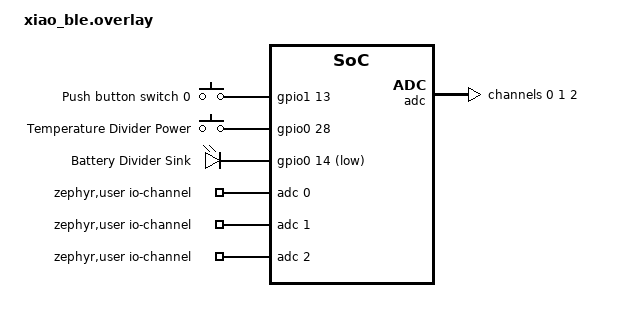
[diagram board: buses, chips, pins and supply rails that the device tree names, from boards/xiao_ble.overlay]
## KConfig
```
# /Kconfig
# this is all you need!
source "Kconfig.zephyr"

menu "FART Sensor"

config REFERENCE_VOLTAGE
	int "The reference voltage"
	range 3000 5000
	default 3300

config SWAP_PROBES_PRESS_TIME_SECONDS
	int "The time the reset button must be pressed to swap the probes"
	range 2 19
	default 5

endmenu
```

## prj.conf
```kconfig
#
# Copyright (c) 2021 Nordic Semiconductor ASA
#
# SPDX-License-Identifier: LicenseRef-Nordic-5-Clause
#
CONFIG_NCS_SAMPLES_DEFAULTS=n

CONFIG_UART_INTERRUPT_DRIVEN=y

CONFIG_HEAP_MEM_POOL_SIZE=2048
CONFIG_MAIN_THREAD_PRIORITY=7

CONFIG_ZIGBEE=y
CONFIG_ZIGBEE_APP_UTILS=y
CONFIG_ZIGBEE_ROLE_ROUTER=n
CONFIG_ZIGBEE_ROLE_END_DEVICE=y

CONFIG_RAM_POWER_DOWN_LIBRARY=y

# Enable DK LED and Buttons library
CONFIG_DK_LIBRARY=y

# This example requires more workqueue stack
CONFIG_SYSTEM_WORKQUEUE_STACK_SIZE=2048

# Enable nRF ECB driver
CONFIG_CRYPTO=y
CONFIG_CRYPTO_NRF_ECB=y
CONFIG_CRYPTO_INIT_PRIORITY=80

# Networking
CONFIG_NET_IPV6=n
CONFIG_NET_IP_ADDR_CHECK=n

CONFIG_NEWLIB_LIBC=y
CONFIG_ADC=y
CONFIG_PWM=n

CONFIG_REFERENCE_VOLTAGE=3300

CONFIG_ZIGBEE_ENABLE_TRACES=n
CONFIG_ZIGBEE_CHANNEL_SELECTION_MODE_MULTI=y

# Logging. Use the n block for production

# CONFIG_SERIAL=n
# CONFIG_CONSOLE=n
# CONFIG_UART_CONSOLE=n
# CONFIG_LOG_BACKEND_RTT=n
# CONFIG_USE_SEGGER_RTT=n
# CONFIG_LOG_MODE_IMMEDIATE=n
# CONFIG_LOG=n

CONFIG_SERIAL=y
CONFIG_CONSOLE=y
CONFIG_UART_CONSOLE=n
CONFIG_LOG_BACKEND_RTT=y
CONFIG_USE_SEGGER_RTT=y
CONFIG_LOG_MODE_IMMEDIATE=y
CONFIG_LOG=y
# end

CONFIG_LOG_BUFFER_SIZE=4048

# # Set to y for debug logging froM ZBoss. n for production
#CONFIG_ZIGBEE_APP_UTILS_LOG_LEVEL_DBG=n
CONFIG_ZBOSS_ERROR_PRINT_TO_LOG=n
# CONFIG_ZBOSS_TRACE_LOG_LEVEL_ERR=y
#CONFIG_ZBOSS_TRACE_LOG_LEVEL_INF=n
# CONFIG_ZBOSS_OSIF_LOG_LEVEL_DBG=n
#end

CONFIG_PM_DEVICE=y
CONFIG_PM_CPU_OPS=y
CONFIG_PM_DEVICE_RUNTIME=y
CONFIG_PM_DEVICE_POWER_DOMAIN=y

CONFIG_FACTORY_RESET_PRESS_TIME_SECONDS=10

# From Power Down sample
CONFIG_NRFX_QSPI=y
CONFIG_USB_DEVICE_STACK=n # no in production
CONFIG_DEBUG_OPTIMIZATIONS=n
CONFIG_DEBUG_THREAD_INFO=n

CONFIG_NVS=y
```

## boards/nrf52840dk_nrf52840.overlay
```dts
	/*
 * SPDX-License-Identifier: Apache-2.0
 *
 * Copyright (c) 2022 Nordic Semiconductor ASA
 */

/ {
	gpio_custom {
		compatible = "gpio-leds";
		battery_divider_sink: battery_divider_sink {
		  gpios = <&gpio0 27 GPIO_ACTIVE_LOW>;
		  label = "Battery Divider Sink";
		};
	};

	power {
		compatible = "gpio-keys";
		temperature_divider_power: temperature_divider_power {
			gpios = <&gpio1 14 (GPIO_PULL_DOWN | GPIO_ACTIVE_HIGH)>;
			label = "Temperature Divider Power";
		};
	};

	zephyr,user {
		io-channels = <&adc 0>, <&adc 1>, <&adc 2>;
	};
};

&adc {
	#address-cells = <1>;
	#size-cells = <0>;

	channel@0 {
		reg = <0>;
		zephyr,gain = "ADC_GAIN_1_5";
		zephyr,reference = "ADC_REF_INTERNAL";
		zephyr,acquisition-time = <ADC_ACQ_TIME_DEFAULT>;
		zephyr,input-positive = <NRF_SAADC_AIN1>;
		zephyr,resolution = <12>;
		zephyr,oversampling = <8>;
	};

	channel@1 {
		reg = <1>;
		zephyr,gain = "ADC_GAIN_1_5";
		zephyr,reference = "ADC_REF_INTERNAL";
		zephyr,acquisition-time = <ADC_ACQ_TIME_DEFAULT>;
		zephyr,input-positive = <NRF_SAADC_AIN2>;
		zephyr,resolution = <12>;
		zephyr,oversampling = <8>;
	};

	channel@2 {
		reg = <2>;
		zephyr,gain = "ADC_GAIN_1_6";
		zephyr,reference = "ADC_REF_INTERNAL";
		zephyr,acquisition-time = <ADC_ACQ_TIME_DEFAULT>;
		zephyr,input-positive = <NRF_SAADC_AIN7>;
		zephyr,resolution = <12>;
		zephyr,oversampling = <8>;
	};
};

&qspi {
	status = "disabled";
};

&spi0 {
	status = "disabled";
};

&spi1 {
	status = "disabled";
};

&spi2 {
	status = "disabled";
};

&spi3 {
	status = "disabled";
};
```

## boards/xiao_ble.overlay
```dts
/*
 * SPDX-License-Identifier: Apache-2.0
 *
 * Copyright (c) 2022 Nordic Semiconductor ASA
 */

/ {
	buttons {
		compatible = "gpio-keys";
		button0: button_0 {
			gpios = <&gpio1 13 (GPIO_PULL_DOWN | GPIO_ACTIVE_HIGH)>;
			label = "Push button switch 0";
			zephyr,code = <INPUT_KEY_0>;
		};
	};

	power {
		compatible = "gpio-keys";
		temperature_divider_power: temperature_divider_power {
			gpios = <&gpio0 28 (GPIO_PULL_DOWN | GPIO_ACTIVE_HIGH)>;
			label = "Temperature Divider Power";
		};
	};

	gpio_custom {
		compatible = "gpio-leds";
		battery_divider_sink: battery_divider_sink {
		  gpios = <&gpio0 14 GPIO_ACTIVE_LOW>;
		  label = "Battery Divider Sink";
		};
	};

	zephyr,user {
		io-channels = <&adc 0>, <&adc 1>, <&adc 2>;
	};

	aliases {
		sw0 = &button0;
	};
};

&adc {
	#address-cells = <1>;
	#size-cells = <0>;

	channel@0 {
		reg = <0>;
		zephyr,gain = "ADC_GAIN_1_5";
		zephyr,reference = "ADC_REF_INTERNAL";
		zephyr,acquisition-time = <ADC_ACQ_TIME_DEFAULT>;
		zephyr,input-positive = <NRF_SAADC_AIN1>;
		zephyr,resolution = <12>;
		zephyr,oversampling = <8>;
	};

	channel@1 {
		reg = <1>;
		zephyr,gain = "ADC_GAIN_1_5";
		zephyr,reference = "ADC_REF_INTERNAL";
		zephyr,acquisition-time = <ADC_ACQ_TIME_DEFAULT>;
		zephyr,input-positive = <NRF_SAADC_AIN5>;
		zephyr,resolution = <12>;
		zephyr,oversampling = <8>;
	};

	channel@2 {
		reg = <2>;
		zephyr,gain = "ADC_GAIN_1_6";
		zephyr,reference = "ADC_REF_INTERNAL";
		zephyr,acquisition-time = <ADC_ACQ_TIME_DEFAULT>;
		zephyr,input-positive = <NRF_SAADC_AIN7>;
		zephyr,resolution = <12>;
		zephyr,oversampling = <8>;
	};
};

&qspi {
    status = "disabled";
};

&spi0 {
	status = "disabled";
};

&spi1 {
	status = "disabled";
};

&spi2 {
	status = "disabled";
};

&spi3 {
	status = "disabled";
};

&i2c1 {
	status = "disabled";
};
```

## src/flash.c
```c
/*
 * Copyright (C) 2023 Dave Waataja
 *
 */

#include "flash.h"
#include <nrfx_qspi.h>
#include <zephyr/drivers/gpio.h>

#define QSPI_SCK_PIN    21
#define QSPI_CS_PIN     25
#define QSPI_IO0_PIN   20
#define QSPI_IO1_PIN    24
#define QSPI_IO2_PIN    22
#define QSPI_IO3_PIN    23

int da_flash_init()
{
    const struct device * dev = DEVICE_DT_GET(DT_NODELABEL(gpio0));
    if (!device_is_ready(dev))
    {
        return -ENODEV;
    }
    gpio_pin_configure(dev, QSPI_CS_PIN, GPIO_OUTPUT_HIGH);

    nrfx_qspi_config_t qspi_cfg =
    {
        .xip_offset = 0,
        .pins =
        {
            .sck_pin = QSPI_SCK_PIN,
            .csn_pin = QSPI_CS_PIN,
            .io0_pin = QSPI_IO0_PIN,
            .io1_pin = QSPI_IO1_PIN,
            .io2_pin = QSPI_IO2_PIN,
            .io3_pin = QSPI_IO3_PIN,
        },
        .prot_if = 
        {
            .readoc = NRF_QSPI_READOC_READ4O, // 0x6B read command
            .writeoc = NRF_QSPI_WRITEOC_PP4O, // 0x32 write command
            .addrmode = NRF_QSPI_ADDRMODE_24BIT,
            .dpmconfig = false
        },
        .phy_if =
        {
            .sck_delay = 10,
            .dpmen = false,
            .spi_mode = NRF_QSPI_MODE_0,
            .sck_freq = NRF_QSPI_FREQ_32MDIV16, // start with low 2 Mhz speed
        },
        .irq_priority = 7,
        .skip_gpio_cfg = true,
        .skip_psel_cfg = false
    };

    // No callback for blocking API
    nrfx_err_t err = nrfx_qspi_init(&qspi_cfg, NULL, NULL);
    if (err != NRFX_SUCCESS)
    {
        return -err;
    }

    return 0;
} 

void da_flash_uninit()
{
    nrfx_qspi_uninit();
}

int da_flash_command(uint8_t command)
{
    nrf_qspi_cinstr_conf_t cinstr_cfg = {.opcode = command,
                                         .length = NRF_QSPI_CINSTR_LEN_1B,
                                         .io2_level = true,
                                         .io3_level = true,
                                         .wipwait = false,
                                         .wren = false};

    nrfx_err_t err = nrfx_qspi_cinstr_xfer(&cinstr_cfg, NULL, NULL);
    if (err != NRFX_SUCCESS)
    {
        return -err;
    }

    return 0;
}
```

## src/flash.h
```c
/*
 * Copyright (C) 2023 Dave Waataja
 *
 */

#ifndef DA_FLASH_H__
#define DA_FLASH_H__

/** @file flash.h
 * @brief Module for interacting with the xiao flash
 */

#include <stdint.h>

#ifdef __cplusplus
extern "C" {
#endif

/** @brief Initializes QSPI flash module
 *
 *  @retval 0   If the operation was successful.
 *              Otherwise, a (negative) error code is returned.
 */
int da_flash_init(); 

/** @brief Uninitializes the QSPI flash module
 */
void da_flash_uninit();

/** @brief Initializes the command handling module
 * 
 *  @param  command. Command to send to the flash
 *
 *  @retval 0   If the operation was successful.
 *              Otherwise, a (negative) error code is returned.
 */
int da_flash_command(uint8_t command);

#ifdef __cplusplus
}
#endif

#endif /* DA_FLASH_H__ */
```
